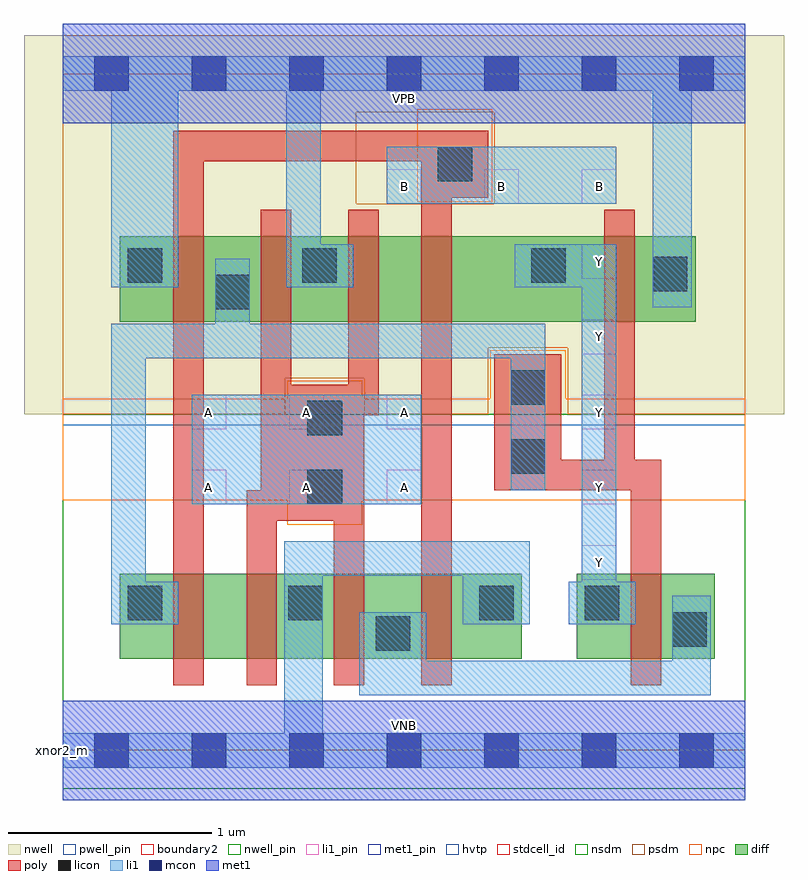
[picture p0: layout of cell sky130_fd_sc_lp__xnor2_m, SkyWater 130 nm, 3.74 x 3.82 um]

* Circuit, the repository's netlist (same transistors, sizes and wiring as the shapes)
* Copyright 2020 The SkyWater PDK Authors
*
* Licensed under the Apache License, Version 2.0 (the "License");
* you may not use this file except in compliance with the License.
* You may obtain a copy of the License at
*
*     https://www.apache.org/licenses/LICENSE-2.0
*
* Unless required by applicable law or agreed to in writing, software
* distributed under the License is distributed on an "AS IS" BASIS,
* WITHOUT WARRANTIES OR CONDITIONS OF ANY KIND, either express or implied.
* See the License for the specific language governing permissions and
* limitations under the License.
*
* SPDX-License-Identifier: Apache-2.0

.SUBCKT sky130_fd_sc_lp__xnor2_m A B VGND VNB VPB VPWR Y
*.PININFO A:I B:I VGND:I VNB:I VPB:I VPWR:I Y:O
MMNnand0 VGND A sndNA VNB sky130_fd_pr__nfet_01v8 m=1 w=0.42U l=0.15U mult=1 sa=0.265
+ sb=0.265 sd=0.28 area=0.063 perim=1.14
MMNnand1 sndNA B inand VNB sky130_fd_pr__nfet_01v8 m=1 w=0.42U l=0.15U mult=1 sa=0.265
+ sb=0.265 sd=0.28 area=0.063 perim=1.14
MMNaoi10 nmid A VGND VNB sky130_fd_pr__nfet_01v8 m=1 w=0.42U l=0.15U mult=1 sa=0.265
+ sb=0.265 sd=0.28 area=0.063 perim=1.14
MMNaoi11 nmid B VGND VNB sky130_fd_pr__nfet_01v8 m=1 w=0.42U l=0.15U mult=1 sa=0.265
+ sb=0.265 sd=0.28 area=0.063 perim=1.14
MMNaoi20 Y inand nmid VNB sky130_fd_pr__nfet_01v8 m=1 w=0.42U l=0.15U mult=1 sa=0.265
+ sb=0.265 sd=0.28 area=0.063 perim=1.14
MMPnand0 inand A VPWR VPB sky130_fd_pr__pfet_01v8_hvt m=1 w=0.42U l=0.15U mult=1
+ sa=0.265 sb=0.265 sd=0.28 area=0.063 perim=1.14
MMPnand1 inand B VPWR VPB sky130_fd_pr__pfet_01v8_hvt m=1 w=0.42U l=0.15U mult=1
+ sa=0.265 sb=0.265 sd=0.28 area=0.063 perim=1.14
MMPaoi10 VPWR A sndPA VPB sky130_fd_pr__pfet_01v8_hvt m=1 w=0.42U l=0.15U mult=1
+ sa=0.265 sb=0.265 sd=0.28 area=0.063 perim=1.14
MMPaoi11 sndPA B Y VPB sky130_fd_pr__pfet_01v8_hvt m=1 w=0.42U l=0.15U mult=1 sa=0.265
+ sb=0.265 sd=0.28 area=0.063 perim=1.14
MMPaoi20 Y inand VPWR VPB sky130_fd_pr__pfet_01v8_hvt m=1 w=0.42U l=0.15U mult=1
+ sa=0.265 sb=0.265 sd=0.28 area=0.063 perim=1.14
.ENDS sky130_fd_sc_lp__xnor2_m

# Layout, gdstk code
import gdstk
lib = gdstk.Library(unit=1e-6, precision=1e-09)
def R(c, l, rs):  # rectangles x0, y0, x1, y1
    for r in rs: c.add(gdstk.rectangle(r[:2], r[2:], *l))
def A(c, l, x, y, w, h, nx, ny, dx, dy):  # array of equal rectangles
    R(c, l, [(x+i*dx, y+j*dy, x+i*dx+w, y+j*dy+h) for i in range(nx) for j in range(ny)])
def P(c, l, *ps):  # polygons
    for p in ps: c.add(gdstk.Polygon(p, *l))
nwell_pin = (64, 16)
nwell = (64, 20)
diff = (65, 20)
poly = (66, 20)
licon = (66, 44)
li1_pin = (67, 16)
li1 = (67, 20)
mcon = (67, 44)
met1_pin = (68, 16)
met1 = (68, 20)
hvtp = (78, 44)
stdcell_id = (81, 4)
nsdm = (93, 44)
psdm = (94, 20)
npc = (95, 20)
pwell_pin = (122, 16)
boundary2 = (236, 0)

sky130_fd_sc_lp__xnor2_m = lib.new_cell('sky130_fd_sc_lp__xnor2_m')
R(sky130_fd_sc_lp__xnor2_m, nwell_pin, [(0,3.085,3.36,3.33)])
R(sky130_fd_sc_lp__xnor2_m, nwell, [(-0.19,1.655,3.55,3.52)])
R(sky130_fd_sc_lp__xnor2_m, diff, [(0.28,0.45,2.26,0.87), (2.53,0.45,3.21,0.87), (0.28,2.11,3.115,2.53)])
P(sky130_fd_sc_lp__xnor2_m, poly, [(1.555,2.66),(1.405,2.66),(1.405,1.8),(1.125,1.8),(1.125,2.66),(0.975,2.66),(0.975,1.28),(0.905,1.28),(0.905,0.32),(1.055,0.32),(1.055,1.13),(1.335,1.13),(1.335,0.32),(1.485,0.32),(1.485,1.65),(1.555,1.65)],
  [(2.095,3.05),(0.545,3.05),(0.545,0.32),(0.695,0.32),(0.695,2.9),(1.765,2.9),(1.765,0.32),(1.915,0.32),(1.915,2.72),(2.095,2.72)],
  [(2.945,1.43),(2.815,1.43),(2.815,2.66),(2.665,2.66),(2.665,1.43),(2.455,1.43),(2.455,1.95),(2.125,1.95),(2.125,1.28),(2.795,1.28),(2.795,0.32),(2.945,0.32)])
R(sky130_fd_sc_lp__xnor2_m, licon, [(1.54,0.49,1.71,0.66), (3,0.51,3.17,0.68), (0.32,0.64,0.49,0.81), (1.11,0.64,1.28,0.81), (2.05,0.64,2.22,0.81), (2.57,0.64,2.74,0.81), (1.205,1.21,1.375,1.38), (2.205,1.36,2.375,1.53), (1.205,1.55,1.375,1.72), (2.205,1.7,2.375,1.87), (0.75,2.17,0.92,2.34), (2.905,2.26,3.075,2.43), (0.32,2.3,0.49,2.47), (1.18,2.3,1.35,2.47), (2.305,2.3,2.475,2.47), (1.845,2.8,2.015,2.97)])
A(sky130_fd_sc_lp__xnor2_m, li1_pin, 2.555, 0.84, 0.17, 0.17, 1, 5, 0, 0.37)
A(sky130_fd_sc_lp__xnor2_m, li1_pin, 0.635, 1.21, 0.17, 0.17, 3, 2, 0.48, 0.37)
A(sky130_fd_sc_lp__xnor2_m, li1_pin, 1.595, 2.69, 0.17, 0.17, 3, 1, 0.48, 0)
R(sky130_fd_sc_lp__xnor2_m, li1, [(0.635,1.21,1.765,1.75), (1.595,2.69,2.725,2.97)])
P(sky130_fd_sc_lp__xnor2_m, li1, [(2.905,2.18),(2.905,3.245),(1.27,3.245),(1.27,2.49),(1.43,2.49),(1.43,2.28),(1.1,2.28),(1.1,3.245),(0.57,3.245),(0.57,2.28),(0.24,2.28),(0.24,3.245),(0,3.245),(0,3.415),(3.36,3.415),(3.36,3.245),(3.095,3.245),(3.095,2.18)],
  [(1.09,0.085),(1.09,1.03),(2.3,1.03),(2.3,0.62),(1.97,0.62),(1.97,0.86),(1.28,0.86),(1.28,0.085),(3.36,0.085),(3.36,-0.085),(0,-0.085),(0,0.085)],
  [(0.24,2.1),(0.75,2.1),(0.75,2.42),(0.92,2.42),(0.92,2.1),(2.375,2.1),(2.375,1.28),(2.205,1.28),(2.205,1.93),(0.41,1.93),(0.41,0.83),(0.57,0.83),(0.57,0.62),(0.24,0.62)],
  [(2.555,0.83),(2.555,2.28),(2.225,2.28),(2.225,2.49),(2.725,2.49),(2.725,0.83),(2.82,0.83),(2.82,0.62),(2.49,0.62),(2.49,0.83)],
  [(3,0.44),(3,0.76),(3.19,0.76),(3.19,0.27),(1.46,0.27),(1.46,0.68),(1.79,0.68),(1.79,0.44)])
A(sky130_fd_sc_lp__xnor2_m, mcon, 0.155, -0.085, 0.17, 0.17, 7, 2, 0.48, 3.33)
R(sky130_fd_sc_lp__xnor2_m, met1_pin, [(0,0,3.36,0.245), (0,3.085,3.36,3.33)])
R(sky130_fd_sc_lp__xnor2_m, met1, [(0,-0.245,3.36,0.245), (0,3.085,3.36,3.575)])
R(sky130_fd_sc_lp__xnor2_m, hvtp, [(0,1.6,3.36,3.33)])
R(sky130_fd_sc_lp__xnor2_m, stdcell_id, [(0,0,3.36,3.33)])
R(sky130_fd_sc_lp__xnor2_m, nsdm, [(0,-0.19,3.36,1.655)])
P(sky130_fd_sc_lp__xnor2_m, psdm, [(3.36,3.52),(2.125,3.52),(2.125,2.69),(1.445,2.69),(1.445,3.14),(2.125,3.14),(2.125,3.52),(0,3.52),(0,1.655),(1.095,1.655),(1.095,1.83),(1.485,1.83),(1.485,1.655),(2.095,1.655),(2.095,1.98),(2.485,1.98),(2.485,1.655),(3.36,1.655)])
R(sky130_fd_sc_lp__xnor2_m, npc, [(1.745,2.7,2.115,3.155)])
P(sky130_fd_sc_lp__xnor2_m, npc, [(3.36,1.73),(2.475,1.73),(2.475,1.97),(2.105,1.97),(2.105,1.73),(1.475,1.73),(1.475,1.82),(1.105,1.82),(1.105,1.73),(0,1.73),(0,1.23),(1.105,1.23),(1.105,1.11),(1.475,1.11),(1.475,1.23),(3.36,1.23)])
R(sky130_fd_sc_lp__xnor2_m, pwell_pin, [(0,0,3.36,0.245)])
R(sky130_fd_sc_lp__xnor2_m, boundary2, [(0,0,3.36,3.33)])
sky130_fd_sc_lp__xnor2_m.add(gdstk.Label('VNB', (1.68,0.123), layer=64, texttype=59))
sky130_fd_sc_lp__xnor2_m.add(gdstk.Label('VPB', (1.68,3.208), layer=64, texttype=5))
sky130_fd_sc_lp__xnor2_m.add(gdstk.Label('xnor2_m', (0,0), layer=83, texttype=44))
sky130_fd_sc_lp__xnor2_m.add(gdstk.Label('VPWR', (1.68,3.208), layer=68, texttype=5))
sky130_fd_sc_lp__xnor2_m.add(gdstk.Label('VGND', (1.68,0.123), layer=68, texttype=5))
sky130_fd_sc_lp__xnor2_m.add(gdstk.Label('A', (0.72,1.295), layer=67, texttype=5))
sky130_fd_sc_lp__xnor2_m.add(gdstk.Label('A', (0.72,1.665), layer=67, texttype=5))
sky130_fd_sc_lp__xnor2_m.add(gdstk.Label('A', (1.2,1.295), layer=67, texttype=5))
sky130_fd_sc_lp__xnor2_m.add(gdstk.Label('A', (1.2,1.665), layer=67, texttype=5))
sky130_fd_sc_lp__xnor2_m.add(gdstk.Label('A', (1.68,1.295), layer=67, texttype=5))
sky130_fd_sc_lp__xnor2_m.add(gdstk.Label('A', (1.68,1.665), layer=67, texttype=5))
sky130_fd_sc_lp__xnor2_m.add(gdstk.Label('B', (1.68,2.775), layer=67, texttype=5))
sky130_fd_sc_lp__xnor2_m.add(gdstk.Label('B', (2.16,2.775), layer=67, texttype=5))
sky130_fd_sc_lp__xnor2_m.add(gdstk.Label('B', (2.64,2.775), layer=67, texttype=5))
sky130_fd_sc_lp__xnor2_m.add(gdstk.Label('Y', (2.64,0.925), layer=67, texttype=5))
sky130_fd_sc_lp__xnor2_m.add(gdstk.Label('Y', (2.64,1.295), layer=67, texttype=5))
sky130_fd_sc_lp__xnor2_m.add(gdstk.Label('Y', (2.64,1.665), layer=67, texttype=5))
sky130_fd_sc_lp__xnor2_m.add(gdstk.Label('Y', (2.64,2.035), layer=67, texttype=5))
sky130_fd_sc_lp__xnor2_m.add(gdstk.Label('Y', (2.64,2.405), layer=67, texttype=5))

lib.write_gds('sky130_fd_sc_lp__xnor2_m.gds')
